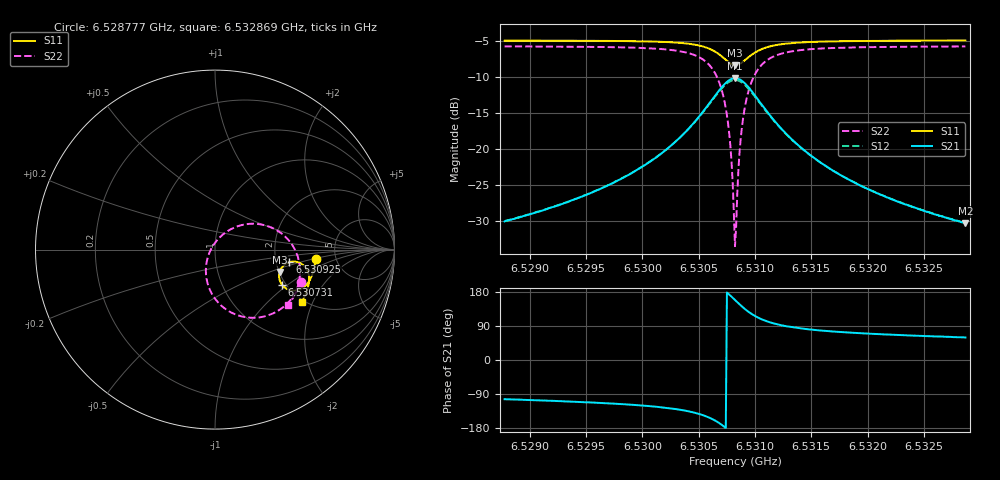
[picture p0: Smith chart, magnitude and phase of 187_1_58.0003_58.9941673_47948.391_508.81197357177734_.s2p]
#  HZ  S  RI  R  50.00
! Rohde & Schwarz Vector Network Analyzer
! Rohde-Schwarz,ZNB20-2Port,1311601062101988,3.16
! Created: UTC 3/21/2024, 12:58:40 AM
! freq[Hz]  re:S11  im:S11  re:S21  im:S21  re:S12  im:S12  re:S22  im:S22
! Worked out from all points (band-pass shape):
!   401 points, 6.528777 GHz to 6.532869 GHz, reference 50 ohm
!   highest |S21| = -10.20 dB at 6.530823 GHz (marker M1); lowest = -30.4 dB at 6.532869 GHz (marker M2)
!   |S21| within 3 dB of the highest: 6.530619 GHz to 6.531028 GHz (409.2 kHz wide, 0.00627 % of centre)
!   lowest |S11| = -8.4 dB at 6.530823 GHz (marker M3), VSWR 2.23, Z = 100 - j29.4 ohm
!   |S11| at or under -10 dB: nowhere
!   |S22| runs from -33.5 to -5.8 dB; largest |S21 - S12| = 0.012
!   S11 on the Smith chart (normalised r, x): 6.528777 GHz: 3.49, -0.51; 6.530731 GHz: 1.91, -0.91; 6.530925 GHz: 2.37, -0.40; 6.532869 GHz: 1.92, -1.66
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6.528777e9  0.5604 -0.0504  -0.00727 -0.0304  -0.0079 -0.0304  0.4815 -0.1784
6.5294625e9  0.5511 -0.1078  -0.0167 -0.0433  -0.0177 -0.0431  0.4496 -0.2415
6.5301479e9  0.5241 -0.1769  -0.0505 -0.0746  -0.0527 -0.0732  0.3666 -0.3305
6.5303832e9  0.4975 -0.2072  -0.0903 -0.0944  -0.0933 -0.091  0.285 -0.3697
6.5305572e9  0.4538 -0.2274  -0.1591 -0.1009  -0.1616 -0.0942  0.158 -0.3745
6.5306595e9  0.4085 -0.2226  -0.2292 -0.0744  -0.2284 -0.0646  0.0407 -0.3168
6.5307311e9  0.373 -0.1954  -0.2809 -0.0155  -0.2751 -0.00521  -0.0351 -0.2076
6.530772e9  0.3596 -0.1674  -0.297 0.0379  -0.2877 0.0462  -0.051 -0.1164
6.5307822e9  0.3579 -0.1593  -0.2979 0.0528  -0.2882 0.0604  -0.0499 -0.0917
6.5308129e9  0.3581 -0.1338  -0.2922 0.0987  -0.2811 0.1035  -0.0312 -0.0177
6.5308231e9  0.3599 -0.1252  -0.2872 0.1137  -0.2759 0.1174  -0.0203 0.00576
6.5308334e9  0.3628 -0.1171  -0.2807 0.128  -0.2694 0.1308  -0.00686 0.028
6.5308436e9  0.3665 -0.1092  -0.2728 0.1417  -0.2618 0.1435  0.00858 0.0487
6.5308641e9  0.376 -0.095  -0.2538 0.1659  -0.2433 0.1658  0.0446 0.0846
6.5308845e9  0.3879 -0.0837  -0.2311 0.1853  -0.2218 0.1838  0.085 0.112
6.5309255e9  0.4148 -0.0699  -0.1822 0.2085  -0.175 0.2056  0.1705 0.1411
6.5309971e9  0.4581 -0.0691  -0.1064 0.2108  -0.1025 0.2077  0.2978 0.1293
6.5310994e9  0.4962 -0.0908  -0.041 0.1797  -0.0392 0.1779  0.4028 0.0606
6.5312528e9  0.5186 -0.1268  -0.00145 0.133  -0.000141 0.1321  0.4599 -0.0353
6.5315086e9  0.5245 -0.1703  0.0154 0.0869  0.0165 0.0865  0.4735 -0.1329
6.5321941e9  0.5072 -0.2418  0.0177 0.0417  0.0185 0.0416  0.4444 -0.2492
6.5328693e9  0.4823 -0.2932  0.0154 0.0261  0.016 0.026  0.4092 -0.3091
